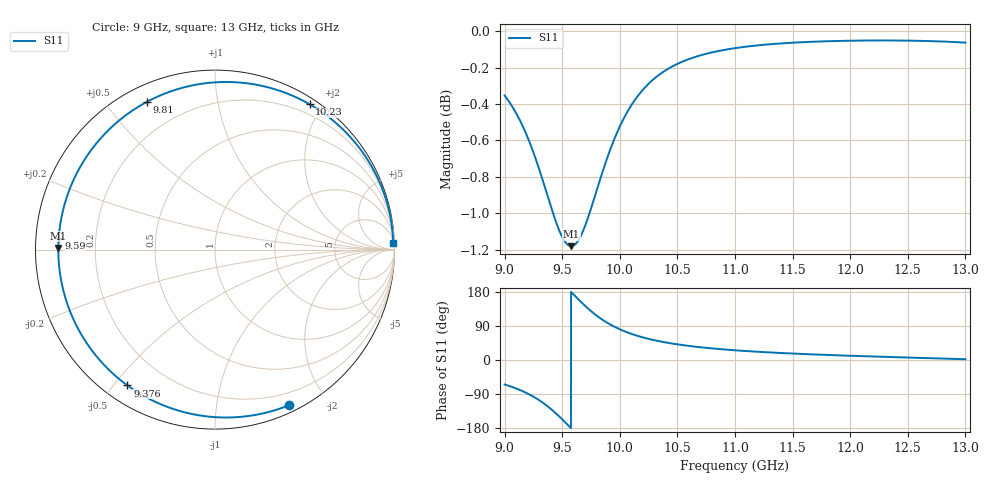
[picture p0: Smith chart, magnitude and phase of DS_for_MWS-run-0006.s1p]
! TOUCHSTONE file generated by CST DESIGN STUDIO
! Date and time: Wed Feb  5 13:38:18 2025
! Project name: C:\Work\MatlabApps\UnitCellOptimizationMatlab\CST\unitcell.cst
! Tree item: Tasks\Sweep1\SPara1\S-Parameters
! Header version: 2024
! Port assignment regex: !\s*Touchstone port\s*([0-9]+)\s*=\s*(CST MWS port|CST DES external port|CST DES block port)\s*(.+)\s* \(\"(.*)\"\)(\s*mode\s*([0-9]+))?.*
! Touchstone port assignment:
! Touchstone port 1 = CST DES external port 1 ("")
# GHz S MA R 50
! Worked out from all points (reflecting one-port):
!   4001 points, 9 GHz to 13 GHz, reference 50 ohm
!   lowest |S11| = -1.2 dB at 9.578 GHz (marker M1), VSWR 14.74, Z = 3.39 + j0.261 ohm
!   phase of S11 starts at -65 deg and turns -293 deg over the sweep
!   S11 on the Smith chart (normalised r, x): 9 GHz: 0.07, -1.58; 9.376 GHz: 0.07, -0.54; 9.59 GHz: 0.07, +0.04; 9.81 GHz: 0.07, +0.64; 10.23 GHz: 0.08, +1.84; 13 GHz: 11, +53
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9  0.9601 -64.6
9.044  0.9558 -68.9
9.111  0.9481 -76.4
9.226  0.9306 -92.7
9.305  0.9154 -107.1
9.376  0.9005 -122.8
9.437  0.8881 -138.5
9.5  0.878 -156.6
9.54  0.8742 -168.8
9.578  0.873 179.4
9.59  0.8731 175.6
9.645  0.8767 158.7
9.707  0.8857 140.6
9.758  0.8956 127.1
9.81  0.9065 114.7
9.852  0.9153 105.7
9.896  0.924 97.4
10  0.9415 81.0
10.111  0.9554 67.9
10.234  0.9662 57.0
10.357  0.9736 48.7
10.5  0.9795 41.3
10.721  0.9852 33.0
11  0.9893 25.6
11.5  0.9927 17.0
12  0.9939 11.2
12.5  0.994 6.5
13  0.9927 2.1
